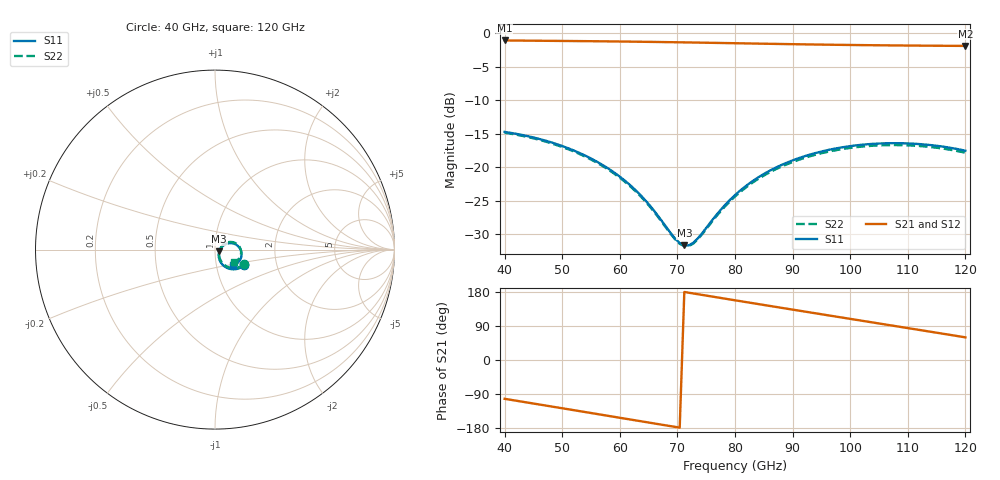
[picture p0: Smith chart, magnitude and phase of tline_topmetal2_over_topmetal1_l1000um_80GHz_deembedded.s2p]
! Created with skrf 2.0.1 (http://scikit-rf.org).
# GHz S DB R 50.0
!freq dBS11 angS11 dBS21 angS21 dBS12 angS12 dBS22 angS22
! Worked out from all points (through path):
!   101 points, 40 GHz to 120 GHz, reference 50 ohm
!   highest |S21| = -1.05 dB at 40 GHz (marker M1); lowest = -1.9 dB at 120 GHz (marker M2)
!   group delay of S21, straight-line fit = 6.87 ps
!   lowest |S11| = -31.6 dB at 71.2 GHz (marker M3), VSWR 1.05, Z = 52.4 - j1.1 ohm
!   |S11| at or under -10 dB: start of sweep to end of sweep
!   |S22| runs from -31.7 to -14.8 dB; largest |S21 - S12| = 1.4e-13
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40  -14.70 -28.7  -1.05 -102.4  -1.05 -102.4  -14.82 -26.6
46.4  -15.83 -42.1  -1.10 -118.4  -1.10 -118.4  -15.97 -39.5
53.6  -18.07 -55.8  -1.15 -136.4  -1.15 -136.4  -18.23 -52.7
57.6  -19.94 -62.1  -1.18 -146.4  -1.18 -146.4  -20.11 -58.6
60.8  -21.92 -65.5  -1.21 -154.4  -1.21 -154.4  -22.08 -61.8
64  -24.50 -65.9  -1.25 -162.5  -1.25 -162.5  -24.66 -61.9
67.2  -27.88 -59.0  -1.28 -170.5  -1.28 -170.5  -28.03 -54.7
69.6  -30.61 -42.5  -1.31 -176.5  -1.31 -176.5  -30.73 -38.2
71.2  -31.64 -23.7  -1.34 179.5  -1.34 179.5  -31.75 -19.4
72  -31.62 -13.2  -1.35 177.5  -1.35 177.5  -31.73 -9.0
73.6  -30.54 5.0  -1.37 173.5  -1.37 173.5  -30.67 9.0
77.6  -26.24 24.8  -1.43 163.5  -1.43 163.5  -26.44 29.2
80  -24.13 27.0  -1.46 157.6  -1.46 157.6  -24.34 31.6
83.2  -21.95 25.6  -1.51 149.7  -1.51 149.7  -22.18 30.5
86.4  -20.32 21.9  -1.55 141.8  -1.55 141.8  -20.56 27.0
89.6  -19.08 17.1  -1.60 133.9  -1.60 133.9  -19.32 22.4
93.6  -17.94 10.2  -1.65 124.2  -1.65 124.2  -18.19 15.8
97.6  -17.15 2.8  -1.70 114.4  -1.70 114.4  -17.41 8.7
100.8  -16.73 -3.4  -1.73 106.6  -1.73 106.6  -17.00 2.8
107.2  -16.38 -15.8  -1.79 91.0  -1.79 91.0  -16.66 -9.2
113.6  -16.63 -28.2  -1.83 75.4  -1.83 75.4  -16.92 -21.1
120  -17.50 -40.0  -1.86 59.8  -1.86 59.8  -17.80 -32.6
